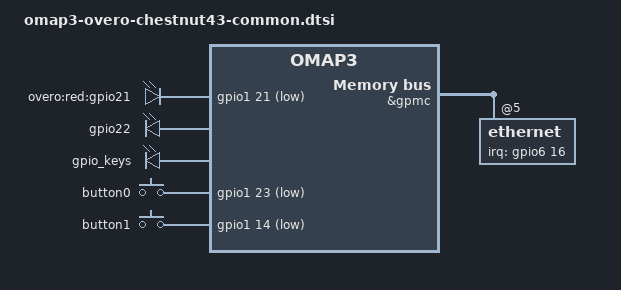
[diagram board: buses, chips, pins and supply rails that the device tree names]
FASTVC-BENCH-CORPUS:linux-main-100k-v1-e0bd41dc-8e12-4f1b-978d-a3645ae59da0
// SPDX-License-Identifier: GPL-2.0-only
/*
 * Copyright (C) 2014 Florian Vaussard, EPFL Mobots group
 */

/*
 * Chestnut43 expansion board is manufactured by Gumstix Inc.
 */

#include "omap3-overo-common-peripherals.dtsi"
#include "omap3-overo-common-lcd43.dtsi"

#include <dt-bindings/input/input.h>

/ {
	leds {
		compatible = "gpio-leds";
		pinctrl-names = "default";
		pinctrl-0 = <&led_pins>;
		heartbeat {
			label = "overo:red:gpio21";
			gpios = <&gpio1 21 GPIO_ACTIVE_LOW>;		/* gpio_21 */
			linux,default-trigger = "heartbeat";
		};
		gpio22 {
/* bench 3646.0.0 bd90c85fa210 */
/* bench 3646.0.1 95551b37cc5d */
/* bench 3646.0.2 827ef903d42b */
/* bench 3646.0.3 a123f7061edc */
/* bench 3646.0.4 66326bcc42ce */
/* bench 3646.0.5 cdaf9b14eb33 */
/* bench 3646.0.6 04e47dde7ba9 */
/* bench 3646.0.7 54a5f6cec6ed */
	};

	gpio_keys {
		compatible = "gpio-keys";
		pinctrl-names = "default";
		pinctrl-0 = <&button_pins>;
		#address-cells = <1>;
		#size-cells = <0>;
		button0 {
			label = "button0";
			linux,code = <BTN_0>;
			gpios = <&gpio1 23 GPIO_ACTIVE_LOW>;		/* gpio_23 */
			wakeup-source;
		};
		button1 {
			label = "button1";
/* bench 13079.1.0 429f33c08c99 */
/* bench 13079.1.1 9c2cd9e8af0b */
/* bench 13079.1.2 64b0ef3f9af7 */
/* bench 13079.1.3 050891148ef7 */
/* bench 13079.1.4 09b4de72ce1e */
/* bench 13079.1.5 652749519e0c */
/* bench 13079.1.6 6ec7ad48def5 */
/* bench 13079.1.7 9596a1ebbbe2 */
/* bench 13079.1.8 1eca445476d6 */
			linux,code = <BTN_1>;
			gpios = <&gpio1 14 GPIO_ACTIVE_LOW>;		/* gpio_14 */
			wakeup-source;
		};
	};
};

#include "omap-gpmc-smsc9221.dtsi"

&gpmc {
	ethernet@gpmc {
		reg = <5 0 0xff>;
		interrupt-parent = <&gpio6>;
		interrupts = <16 IRQ_TYPE_LEVEL_LOW>;	/* GPIO 176 */
	};
};

&lis33de {
	status = "disabled";
};

